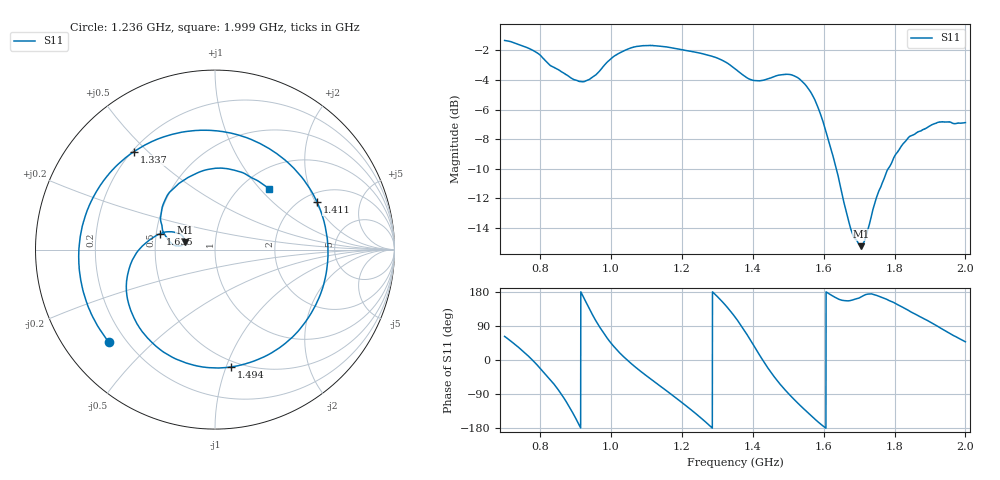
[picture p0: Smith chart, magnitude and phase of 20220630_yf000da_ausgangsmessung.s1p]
!Keysight Technologies,P9371A,MY57212015,A.15.65.19
!Date: Thursday, June 30, 2022 13:47:55
!Correction: S11(C  1-Port  )
!S1P File: Measurement: S11:
# Hz S  dB  R 50
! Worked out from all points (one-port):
!   2601 points, 700 MHz to 2 GHz, reference 50 ohm
!   lowest |S11| = -15.2 dB at 1.706 GHz (marker M1), VSWR 1.42, Z = 35.5 + j2.97 ohm
!   |S11| at or under -10 dB: 1.636 GHz to 1.782 GHz (145.7 MHz wide, 8.53 % of centre)
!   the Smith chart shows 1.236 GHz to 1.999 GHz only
!   S11 on the Smith chart (normalised r, x): 1.236 GHz: 0.14, -0.37; 1.337 GHz: 0.21, +0.45; 1.411 GHz: 2.37, +2.07; 1.494 GHz: 0.45, -1.04; 1.635 GHz: 0.53, +0.10; 1.999 GHz: 1.31, +1.12
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7e8  -1.33 62.3
7.85e8  -2.06 -6.4
8.26e8  -2.96 -48.9
8.625e8  -3.47 -93.5
8.98e8  -3.99 -149.2
9.23e8  -4.11 165.0
9.695e8  -3.35 85.1
1.025e9  -2.16 18.5
1.065e9  -1.77 -15.6
1.113e9  -1.67 -50.7
1.1875e9  -1.89 -103.1
1.236e9  -2.11 -139.0
1.2905e9  -2.44 176.3
1.3365e9  -3.00 129.7
1.35e9  -3.24 113.5
1.38e9  -3.79 72.8
1.4115e9  -4.05 25.0
1.4455e9  -3.89 -24.8
1.4945e9  -3.61 -82.2
1.5125e9  -3.67 -100.1
1.57e9  -5.08 -151.3
1.6355e9  -9.95 163.8
1.675e9  -13.94 156.8
1.7055e9  -15.22 166.5
1.8375e9  -7.94 131.9
1.9225e9  -6.86 88.5
1.999e9  -6.88 48.6
2e9  -6.87 48.1
